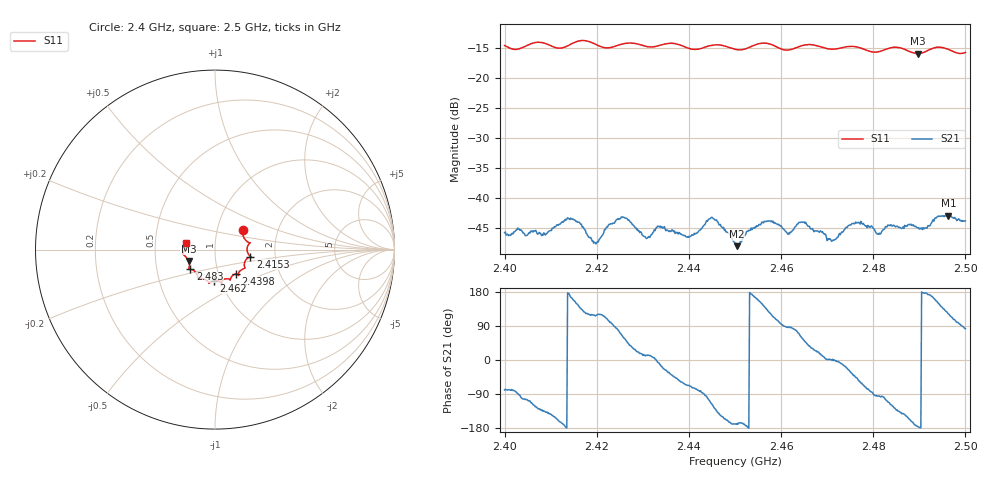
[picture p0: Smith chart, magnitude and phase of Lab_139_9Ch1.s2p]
# Hz S RI R 50
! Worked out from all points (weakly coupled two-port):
!   601 points, 2.4 GHz to 2.5 GHz, reference 50 ohm
!   highest |S21| = -42.93 dB at 2.4963 GHz (marker M1); lowest = -48.0 dB at 2.4503 GHz (marker M2)
!   lowest |S11| = -15.9 dB at 2.4897 GHz (marker M3), VSWR 1.38, Z = 36.9 - j4.81 ohm
!   |S11| at or under -10 dB: start of sweep to end of sweep
!   S12 and S22 are empty: the file has one direction only
!   S11 on the Smith chart (normalised r, x): 2.4 GHz: 1.33, +0.29; 2.4153 GHz: 1.48, -0.12; 2.4398 GHz: 1.21, -0.34; 2.462 GHz: 0.93, -0.33; 2.483 GHz: 0.74, -0.17; 2.5 GHz: 0.72, +0.06
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2.4e9  0.1548 0.1066  0.000985 -0.00504  0 0  0 0
2.415333e9  0.1966 -0.0385  -0.00583 0.00288  0 0  0 0
2.416667e9  0.2023 -0.0425  -0.0042 0.00433  0 0  0 0
2.419833e9  0.1862 -0.0453  -0.00191 0.00367  0 0  0 0
2.425333e9  0.1656 -0.0978  0.00267 0.00642  0 0  0 0
2.430667e9  0.1461 -0.1133  0.00453 0.000996  0 0  0 0
2.433333e9  0.1311 -0.1336  0.00574 -0.00072  0 0  0 0
2.439833e9  0.1152 -0.1362  0.00185 -0.00431  0 0  0 0
2.445e9  0.0846 -0.1687  -0.00309 -0.00617  0 0  0 0
2.45e9  0.0646 -0.1625  -0.00408 -0.000796  0 0  0 0
2.450333e9  0.0608 -0.1626  -0.0039 -0.000702  0 0  0 0
2.456833e9  0.0391 -0.1921  -0.00441 0.00457  0 0  0 0
2.462e9  -0.00501 -0.1732  0.000423 0.00518  0 0  0 0
2.464333e9  -0.029 -0.184  0.003 0.00551  0 0  0 0
2.466667e9  -0.0342 -0.1877  0.00472 0.00284  0 0  0 0
2.471333e9  -0.0623 -0.1634  0.00446 -0.000132  0 0  0 0
2.475833e9  -0.0941 -0.1584  0.00464 -0.00394  0 0  0 0
2.483e9  -0.1376 -0.1097  -0.00177 -0.00546  0 0  0 0
2.483333e9  -0.14 -0.1095  -0.00217 -0.00548  0 0  0 0
2.489667e9  -0.1476 -0.0636  -0.00563 -0.000487  0 0  0 0
2.496333e9  -0.1738 -0.0126  -0.00373 0.00608  0 0  0 0
2.5e9  -0.1597 0.0391  0.000822 0.00639  0 0  0 0
